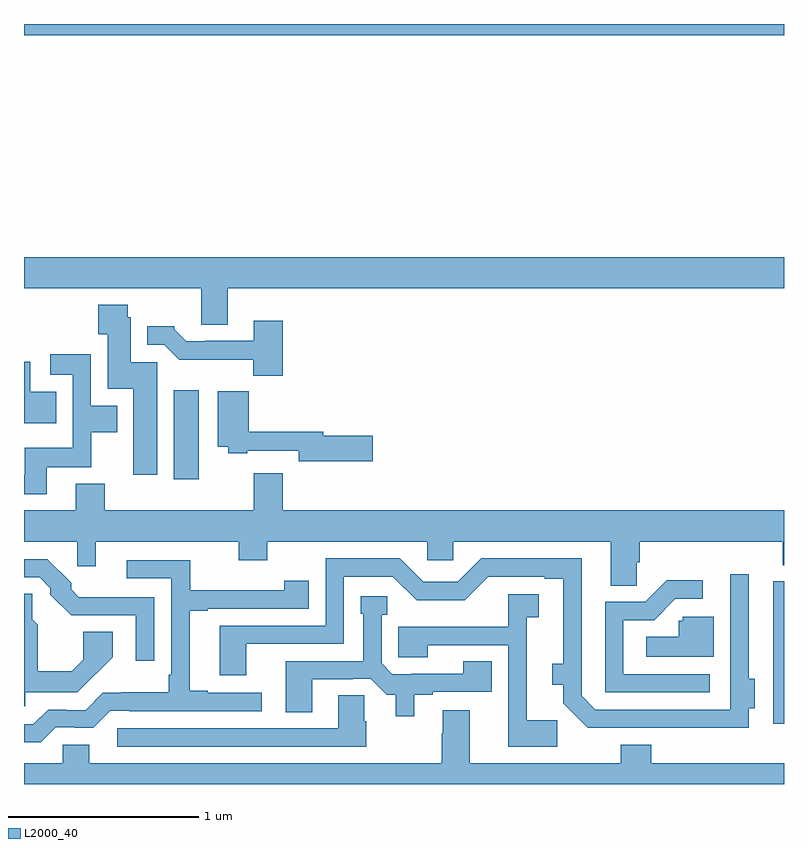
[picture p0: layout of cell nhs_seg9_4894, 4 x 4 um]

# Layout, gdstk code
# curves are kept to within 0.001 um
import gdstk
lib = gdstk.Library(unit=1e-6, precision=1e-09)
def R(c, l, rs):  # rectangles x0, y0, x1, y1
    for r in rs: c.add(gdstk.rectangle(r[:2], r[2:], *l))
def P(c, l, *ps):  # polygons
    for p in ps: c.add(gdstk.Polygon(p, *l))
L2000_40 = (2000, 40)

nhs_seg9_4894 = lib.new_cell('nhs_seg9_4894')
R(nhs_seg9_4894, L2000_40, [(398.943,1172.817,399,1173.567), (395.789,1174.104,395.92,1174.573), (395,1176.44,399,1176.5)])
P(nhs_seg9_4894, L2000_40, [(396.073,1175.108),(399,1175.108),(399,1175.272),(395,1175.272),(395,1175.108),(395.933,1175.108),(395.933,1174.918),(396.073,1174.918)],
  [(395.701,1174.719),(395.563,1174.719),(395.563,1174.956),(395.547,1174.956),(395.547,1175.023),(395.39,1175.023),(395.39,1174.867),(395.441,1174.867),(395.441,1174.58),(395.576,1174.58),(395.576,1174.128),(395.701,1174.128)],
  [(396.362,1174.939),(396.209,1174.939),(396.209,1174.833),(395.953,1174.833),(395.953,1174.83),(395.854,1174.83),(395.79,1174.894),(395.79,1174.909),(395.648,1174.909),(395.648,1174.812),(395.739,1174.812),(395.818,1174.734),(396.207,1174.734),(396.207,1174.649),(396.362,1174.649)],
  [(395.119,1174.166),(395.355,1174.166),(395.355,1174.352),(395.491,1174.352),(395.491,1174.492),(395.352,1174.492),(395.352,1174.762),(395.139,1174.762),(395.139,1174.653),(395.256,1174.653),(395.256,1174.27),(395.003,1174.27),(395.003,1174.128),(395,1174.128),(395,1174.026),(395.119,1174.026)],
  [(395.171,1174.564),(395.032,1174.564),(395.032,1174.722),(395,1174.722),(395,1174.4),(395.171,1174.4)],
  [(396.835,1174.334),(396.574,1174.334),(396.574,1174.355),(396.182,1174.355),(396.182,1174.567),(396.02,1174.567),(396.02,1174.274),(396.075,1174.274),(396.075,1174.242),(396.175,1174.242),(396.175,1174.254),(396.446,1174.254),(396.446,1174.199),(396.835,1174.199)],
  [(398.226,1173.667),(398.24,1173.667),(398.24,1173.776),(398.993,1173.776),(398.993,1173.652),(399,1173.652),(399,1173.94),(396.362,1173.94),(396.362,1174.135),(396.209,1174.135),(396.209,1173.94),(395.426,1173.94),(395.426,1174.081),(395.273,1174.081),(395.273,1173.94),(395,1173.94),(395,1173.776),(395.281,1173.776),(395.281,1173.647),(395.377,1173.647),(395.377,1173.776),(396.131,1173.776),(396.131,1173.677),(396.279,1173.677),(396.279,1173.776),(397.122,1173.776),(397.122,1173.678),(397.26,1173.678),(397.26,1173.776),(398.087,1173.776),(398.087,1173.544),(398.226,1173.544)],
  [(398.068,1172.796),(398.814,1172.795),(398.814,1172.9),(398.845,1172.9),(398.845,1173.053),(398.814,1173.053),(398.814,1173.604),(398.718,1173.604),(398.718,1172.892),(398.007,1172.892),(397.935,1172.964),(397.935,1173.687),(397.407,1173.687),(397.284,1173.564),(397.101,1173.564),(396.978,1173.687),(396.588,1173.687),(396.588,1173.333),(396.029,1173.333),(396.029,1173.072),(396.169,1173.072),(396.169,1173.237),(396.684,1173.237),(396.684,1173.591),(396.942,1173.591),(397.066,1173.467),(397.32,1173.467),(397.444,1173.591),(397.742,1173.591),(397.742,1173.579),(397.838,1173.579),(397.838,1173.133),(397.781,1173.133),(397.781,1173.023),(397.838,1173.023),(397.838,1172.924),(397.967,1172.795)],
  [(395.685,1173.483),(395.288,1173.484),(395.248,1173.525),(395.248,1173.559),(395.122,1173.684),(395,1173.684),(395,1173.588),(395.082,1173.588),(395.139,1173.531),(395.139,1173.497),(395.249,1173.387),(395.589,1173.387),(395.589,1173.15),(395.685,1173.15)],
  [(395.166,1172.799),(395.267,1172.799),(395.267,1172.796),(395.364,1172.796),(395.454,1172.886),(395.554,1172.886),(395.554,1172.883),(396.25,1172.883),(396.25,1172.979),(395.968,1172.979),(395.968,1172.992),(395.872,1172.992),(395.872,1173.411),(395.968,1173.411),(395.968,1173.423),(396.499,1173.423),(396.499,1173.571),(396.371,1173.571),(396.371,1173.52),(395.876,1173.52),(395.876,1173.678),(395.541,1173.678),(395.541,1173.582),(395.775,1173.582),(395.775,1173.076),(395.763,1173.076),(395.763,1172.983),(395.512,1172.983),(395.512,1172.979),(395.415,1172.979),(395.325,1172.889),(395.225,1172.889),(395.225,1172.892),(395.127,1172.892),(395.049,1172.814),(395,1172.814),(395,1172.72),(395.087,1172.72)],
  [(398.608,1173.078),(398.154,1173.078),(398.154,1173.363),(398.316,1173.363),(398.427,1173.474),(398.572,1173.474),(398.572,1173.572),(398.384,1173.572),(398.271,1173.459),(398.058,1173.459),(398.058,1172.982),(398.608,1172.982)],
  [(395.007,1172.982),(395.281,1172.982),(395.467,1173.166),(395.467,1173.302),(395.313,1173.302),(395.313,1173.154),(395.251,1173.093),(395.072,1173.093),(395.072,1173.338),(395.043,1173.367),(395.043,1173.502),(395,1173.502),(395,1172.91),(395.007,1172.91)],
  [(397.806,1172.835),(397.645,1172.835),(397.645,1173.378),(397.708,1173.378),(397.708,1173.499),(397.548,1173.499),(397.548,1173.328),(397.081,1173.328),(397.081,1173.327),(396.971,1173.327),(396.971,1173.166),(397.125,1173.166),(397.125,1173.231),(397.548,1173.231),(397.548,1172.696),(397.806,1172.696)],
  [(397.054,1172.97),(397.15,1172.97),(397.15,1172.985),(397.463,1172.985),(397.463,1173.146),(397.312,1173.146),(397.312,1173.081),(397.039,1173.081),(397.039,1173.078),(396.939,1173.078),(396.882,1173.135),(396.882,1173.391),(396.912,1173.391),(396.912,1173.489),(396.773,1173.489),(396.773,1173.396),(396.786,1173.396),(396.786,1173.147),(396.377,1173.147),(396.377,1172.878),(396.517,1172.878),(396.517,1173.051),(396.731,1173.051),(396.731,1173.054),(396.825,1173.054),(396.909,1172.97),(396.956,1172.97),(396.956,1172.856),(397.054,1172.856)],
  [(398.629,1173.381),(398.466,1173.381),(398.466,1173.36),(398.445,1173.36),(398.445,1173.274),(398.274,1173.274),(398.274,1173.17),(398.629,1173.17)],
  [(396.801,1172.829),(396.791,1172.829),(396.791,1172.966),(396.653,1172.966),(396.653,1172.793),(395.49,1172.793),(395.49,1172.697),(396.801,1172.697)],
  [(399,1172.608),(398.3,1172.608),(398.3,1172.707),(398.14,1172.707),(398.14,1172.608),(397.345,1172.608),(397.345,1172.887),(397.205,1172.887),(397.205,1172.768),(397.198,1172.768),(397.198,1172.608),(395.344,1172.608),(395.344,1172.706),(395.205,1172.706),(395.205,1172.608),(395,1172.608),(395,1172.5),(399,1172.5)])

lib.write_gds('nhs_seg9_4894.gds')
